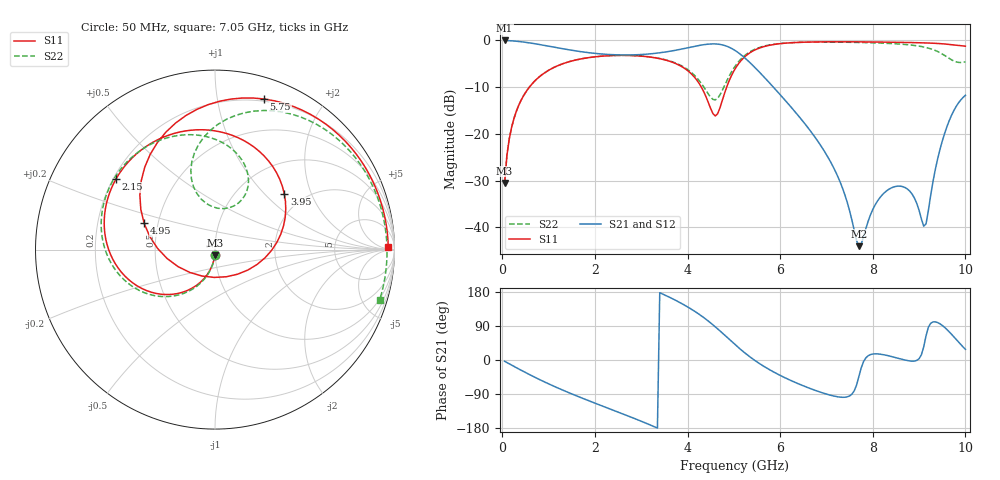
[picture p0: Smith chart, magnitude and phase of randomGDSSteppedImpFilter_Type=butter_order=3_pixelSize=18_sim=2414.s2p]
! freq	dB(S11)	phase(S11)	dB(S12)	phase(S12)
!  dB(S21)	phase(S21)	dB(S22)	phase(S22)
!S-par simulation data
#  GHz  S  DB  R 50
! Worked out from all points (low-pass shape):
!   200 points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, 50 MHz to 10 GHz, reference 50 ohm
!   highest |S21| = -0.02 dB at 50 MHz (marker M1); lowest = -44.1 dB at 7.7 GHz (marker M2)
!   |S21| within 3 dB of the highest: start of sweep to 2.293 GHz; 3.02 GHz to 5.147 GHz (2.127 GHz wide, 52.1 % of centre)
!   lowest |S11| = -30.6 dB at 50 MHz (marker M3), VSWR 1.06, Z = 49.8 - j2.96 ohm
!   |S11| at or under -10 dB: start of sweep to 586.1 MHz; 4.298 GHz to 4.846 GHz (548.2 MHz wide, 12 % of centre)
!   |S22| runs from -30.5 to -0.4 dB; largest |S21 - S12| = 0
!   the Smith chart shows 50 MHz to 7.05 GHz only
!   S11 on the Smith chart (normalised r, x): 50 MHz: 1.00, -0.06; 2.15 GHz: 0.21, +0.31; 3.95 GHz: 1.59, +1.32; 4.95 GHz: 0.42, +0.15; 5.75 GHz: 0.18, +1.36; 7.05 GHz: 50, +19
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0.05  -30.55 -91.9  -0.02 -3.4  -0.02 -3.4  -30.55 -91.7
0.2  -18.67 -103.5  -0.10 -13.5  -0.10 -13.5  -18.67 -102.8
0.5  -11.19 -124.2  -0.41 -33.0  -0.41 -33.0  -11.17 -122.5
1.05  -6.12 -157.9  -1.33 -65.7  -1.33 -65.7  -6.12 -154.3
1.75  -3.87 164.5  -2.49 -101.8  -2.49 -101.8  -3.87 170.9
2.15  -3.38 144.5  -2.92 -120.9  -2.92 -120.9  -3.37 152.7
3.4  -3.92 78.5  -2.66 177.6  -2.66 177.6  -3.87 97.1
3.95  -6.09 39.0  -1.70 143.7  -1.70 143.7  -5.90 71.5
4.6  -16.19 -91.2  -0.76 87.5  -0.76 87.5  -12.74 85.8
4.95  -7.52 159.7  -1.72 49.0  -1.72 49.0  -6.74 107.0
5.05  -5.73 144.0  -2.31 38.1  -2.31 38.1  -5.22 102.1
5.4  -2.33 102.2  -5.26 3.5  -5.26 3.5  -2.16 77.8
5.75  -1.09 72.0  -8.89 -24.2  -8.89 -24.2  -1.01 53.9
6.7  -0.34 16.5  -20.01 -77.6  -20.01 -77.6  -0.37 0.7
7.05  -0.31 0.8  -25.32 -91.7  -25.32 -91.7  -0.36 -16.9
7.7  -0.32 -25.2  -44.06 -43.9  -44.06 -43.9  -0.44 -49.4
8.35  -0.39 -48.2  -31.86 10.8  -31.86 10.8  -0.66 -85.2
8.8  -0.46 -63.1  -32.29 -2.6  -32.29 -2.6  -0.97 -116.6
9.1  -0.53 -72.9  -39.79 34.7  -39.79 34.7  -1.42 -145.6
9.35  -0.63 -81.1  -27.66 100.7  -27.66 100.7  -2.16 179.4
9.7  -0.92 -92.4  -16.05 68.0  -16.05 68.0  -4.16 98.0
10  -1.24 -101.1  -11.75 28.1  -11.75 28.1  -4.61 9.6
